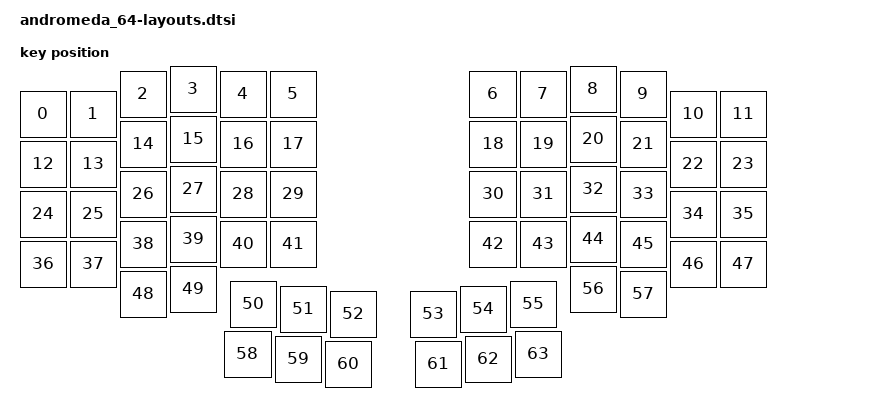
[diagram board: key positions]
#include <physical_layouts.dtsi>

/ {
    default_layout: default_layout {
        compatible = "zmk,physical-layout";
        display-name = "Default Layout";
        transform = <&default_transform>;
        kscan = <&kscan>;

        keys  //                     w   h    x    y     rot    rx    ry
            = <&key_physical_attrs 100 100    0   50       0     0     0>
            , <&key_physical_attrs 100 100  100   50       0     0     0>
            , <&key_physical_attrs 100 100  200   10       0     0     0>
            , <&key_physical_attrs 100 100  300    0       0     0     0>
            , <&key_physical_attrs 100 100  400   10       0     0     0>
            , <&key_physical_attrs 100 100  500   10       0     0     0>
            , <&key_physical_attrs 100 100  900   10       0     0     0>
            , <&key_physical_attrs 100 100 1000   10       0     0     0>
            , <&key_physical_attrs 100 100 1100    0       0     0     0>
            , <&key_physical_attrs 100 100 1200   10       0     0     0>
            , <&key_physical_attrs 100 100 1300   50       0     0     0>
            , <&key_physical_attrs 100 100 1400   50       0     0     0>
            , <&key_physical_attrs 100 100    0  150       0     0     0>
            , <&key_physical_attrs 100 100  100  150       0     0     0>
            , <&key_physical_attrs 100 100  200  110       0     0     0>
            , <&key_physical_attrs 100 100  300  100       0     0     0>
            , <&key_physical_attrs 100 100  400  110       0     0     0>
            , <&key_physical_attrs 100 100  500  110       0     0     0>
            , <&key_physical_attrs 100 100  900  110       0     0     0>
            , <&key_physical_attrs 100 100 1000  110       0     0     0>
            , <&key_physical_attrs 100 100 1100  100       0     0     0>
            , <&key_physical_attrs 100 100 1200  110       0     0     0>
            , <&key_physical_attrs 100 100 1300  150       0     0     0>
            , <&key_physical_attrs 100 100 1400  150       0     0     0>
            , <&key_physical_attrs 100 100    0  250       0     0     0>
            , <&key_physical_attrs 100 100  100  250       0     0     0>
            , <&key_physical_attrs 100 100  200  210       0     0     0>
            , <&key_physical_attrs 100 100  300  200       0     0     0>
            , <&key_physical_attrs 100 100  400  210       0     0     0>
            , <&key_physical_attrs 100 100  500  210       0     0     0>
            , <&key_physical_attrs 100 100  900  210       0     0     0>
            , <&key_physical_attrs 100 100 1000  210       0     0     0>
            , <&key_physical_attrs 100 100 1100  200       0     0     0>
            , <&key_physical_attrs 100 100 1200  210       0     0     0>
            , <&key_physical_attrs 100 100 1300  250       0     0     0>
            , <&key_physical_attrs 100 100 1400  250       0     0     0>
            , <&key_physical_attrs 100 100    0  350       0     0     0>
            , <&key_physical_attrs 100 100  100  350       0     0     0>
            , <&key_physical_attrs 100 100  200  310       0     0     0>
            , <&key_physical_attrs 100 100  300  300       0     0     0>
            , <&key_physical_attrs 100 100  400  310       0     0     0>
            , <&key_physical_attrs 100 100  500  310       0     0     0>
            , <&key_physical_attrs 100 100  900  310       0     0     0>
            , <&key_physical_attrs 100 100 1000  310       0     0     0>
            , <&key_physical_attrs 100 100 1100  300       0     0     0>
            , <&key_physical_attrs 100 100 1200  310       0     0     0>
            , <&key_physical_attrs 100 100 1300  350       0     0     0>
            , <&key_physical_attrs 100 100 1400  350       0     0     0>
            , <&key_physical_attrs 100 100  200  410       0     0     0>
            , <&key_physical_attrs 100 100  300  400       0     0     0>
            , <&key_physical_attrs 100 100  420  430       0     0     0>
            , <&key_physical_attrs 100 100  520  440       0     0     0>
            , <&key_physical_attrs 100 100  620  450       0     0     0>
            , <&key_physical_attrs 100 100  780  450       0     0     0>
            , <&key_physical_attrs 100 100  880  440       0     0     0>
            , <&key_physical_attrs 100 100  980  430       0     0     0>
            , <&key_physical_attrs 100 100 1100  400       0     0     0>
            , <&key_physical_attrs 100 100 1200  410       0     0     0>
            , <&key_physical_attrs 100 100  410  530       0     0     0>
            , <&key_physical_attrs 100 100  510  540       0     0     0>
            , <&key_physical_attrs 100 100  610  550       0     0     0>
            , <&key_physical_attrs 100 100  790  550       0     0     0>
            , <&key_physical_attrs 100 100  890  540       0     0     0>
            , <&key_physical_attrs 100 100  990  530       0     0     0>
            ;
    };
};
